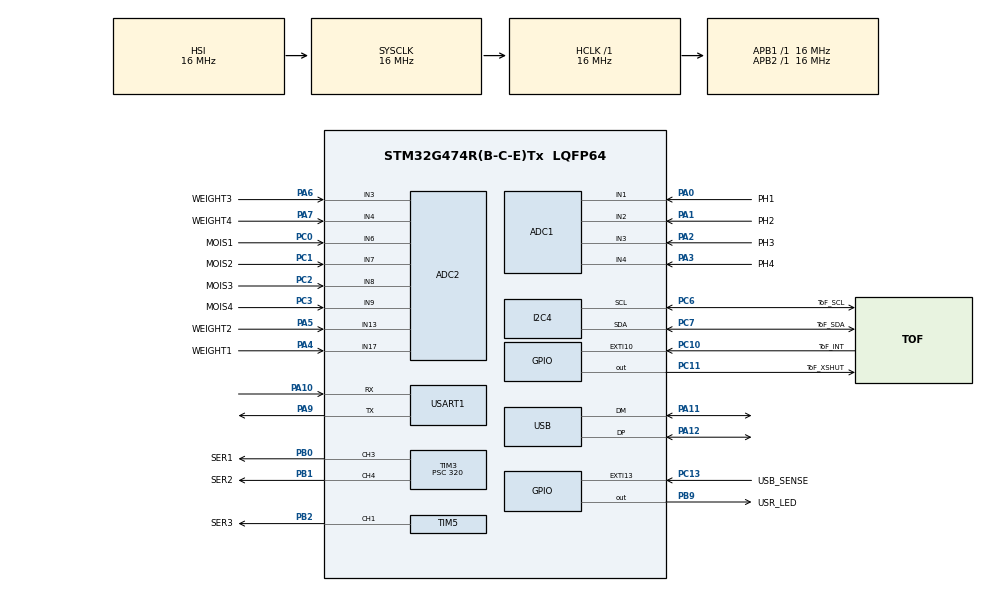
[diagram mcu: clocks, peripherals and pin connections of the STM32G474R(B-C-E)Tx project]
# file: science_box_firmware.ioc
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ADC1.Channel-1\#ChannelRegularConversion=ADC_CHANNEL_1
ADC1.Channel-2\#ChannelRegularConversion=ADC_CHANNEL_2
ADC1.Channel-3\#ChannelRegularConversion=ADC_CHANNEL_3
ADC1.Channel-4\#ChannelRegularConversion=ADC_CHANNEL_4
ADC1.DiscontinuousConvMode=ENABLE
ADC1.NbrOfConversion=4
ADC1.NbrOfConversionFlag=1
ADC1.OffsetNumber-1\#ChannelRegularConversion=ADC_OFFSET_NONE
ADC1.OffsetNumber-2\#ChannelRegularConversion=ADC_OFFSET_NONE
ADC1.OffsetNumber-3\#ChannelRegularConversion=ADC_OFFSET_NONE
ADC1.OffsetNumber-4\#ChannelRegularConversion=ADC_OFFSET_NONE
ADC1.Rank-1\#ChannelRegularConversion=1
ADC1.Rank-2\#ChannelRegularConversion=2
ADC1.Rank-3\#ChannelRegularConversion=3
ADC1.Rank-4\#ChannelRegularConversion=4
ADC1.SamplingTime-1\#ChannelRegularConversion=ADC_SAMPLETIME_640CYCLES_5
ADC1.SamplingTime-2\#ChannelRegularConversion=ADC_SAMPLETIME_640CYCLES_5
ADC1.SamplingTime-3\#ChannelRegularConversion=ADC_SAMPLETIME_640CYCLES_5
ADC1.SamplingTime-4\#ChannelRegularConversion=ADC_SAMPLETIME_640CYCLES_5
ADC1.master=1
ADC2.Channel-10\#ChannelRegularConversion=ADC_CHANNEL_17
ADC2.Channel-11\#ChannelRegularConversion=ADC_CHANNEL_13
ADC2.Channel-12\#ChannelRegularConversion=ADC_CHANNEL_3
ADC2.Channel-13\#ChannelRegularConversion=ADC_CHANNEL_4
ADC2.Channel-6\#ChannelRegularConversion=ADC_CHANNEL_6
ADC2.Channel-7\#ChannelRegularConversion=ADC_CHANNEL_7
ADC2.Channel-8\#ChannelRegularConversion=ADC_CHANNEL_8
ADC2.Channel-9\#ChannelRegularConversion=ADC_CHANNEL_9
ADC2.NbrOfConversion=8
ADC2.NbrOfConversionFlag=1
ADC2.OffsetNumber-10\#ChannelRegularConversion=ADC_OFFSET_NONE
ADC2.OffsetNumber-11\#ChannelRegularConversion=ADC_OFFSET_NONE
ADC2.OffsetNumber-12\#ChannelRegularConversion=ADC_OFFSET_NONE
ADC2.OffsetNumber-13\#ChannelRegularConversion=ADC_OFFSET_NONE
ADC2.OffsetNumber-6\#ChannelRegularConversion=ADC_OFFSET_NONE
ADC2.OffsetNumber-7\#ChannelRegularConversion=ADC_OFFSET_NONE
ADC2.OffsetNumber-8\#ChannelRegularConversion=ADC_OFFSET_NONE
ADC2.OffsetNumber-9\#ChannelRegularConversion=ADC_OFFSET_NONE
ADC2.Rank-10\#ChannelRegularConversion=5
ADC2.Rank-11\#ChannelRegularConversion=6
ADC2.Rank-12\#ChannelRegularConversion=7
ADC2.Rank-13\#ChannelRegularConversion=8
ADC2.Rank-6\#ChannelRegularConversion=1
ADC2.Rank-7\#ChannelRegularConversion=2
ADC2.Rank-8\#ChannelRegularConversion=3
ADC2.Rank-9\#ChannelRegularConversion=4
ADC2.SamplingTime-10\#ChannelRegularConversion=ADC_SAMPLETIME_640CYCLES_5
ADC2.SamplingTime-11\#ChannelRegularConversion=ADC_SAMPLETIME_640CYCLES_5
ADC2.SamplingTime-12\#ChannelRegularConversion=ADC_SAMPLETIME_640CYCLES_5
ADC2.SamplingTime-13\#ChannelRegularConversion=ADC_SAMPLETIME_640CYCLES_5
ADC2.SamplingTime-6\#ChannelRegularConversion=ADC_SAMPLETIME_640CYCLES_5
ADC2.SamplingTime-7\#ChannelRegularConversion=ADC_SAMPLETIME_640CYCLES_5
ADC2.SamplingTime-8\#ChannelRegularConversion=ADC_SAMPLETIME_640CYCLES_5
ADC2.SamplingTime-9\#ChannelRegularConversion=ADC_SAMPLETIME_640CYCLES_5
I2C4.Timing=0x00503D58
Mcu.Family=STM32G4
Mcu.Name=STM32G474R(B-C-E)Tx
Mcu.Package=LQFP64
NVIC.EXTI15_10_IRQn=true\:0\:0\:false\:false\:true\:true\:true\:true
NVIC.PriorityGroup=NVIC_PRIORITYGROUP_4
NVIC.RTC_WKUP_IRQn=true\:0\:0\:false\:false\:true\:true\:true\:true
NVIC.USART1_IRQn=true\:0\:0\:false\:false\:true\:true\:true\:true
NVIC.USB_HP_IRQn=true\:0\:0\:false\:false\:true\:true\:true\:true
NVIC.USB_LP_IRQn=true\:0\:0\:false\:false\:true\:true\:true\:true
PA0.GPIO_Label=PH1
PA0.Mode=IN1-Single-Ended
PA0.Signal=ADC1_IN1
PA1.GPIO_Label=PH2
PA1.Mode=IN2-Single-Ended
PA1.Signal=ADC1_IN2
PA10.Mode=Asynchronous
PA10.Signal=USART1_RX
PA11.Mode=Device
PA11.Signal=USB_DM
PA12.Mode=Device
PA12.Signal=USB_DP
PA13.Mode=Trace_Asynchronous_SW
PA13.Signal=SYS_JTMS-SWDIO
PA14.Mode=Trace_Asynchronous_SW
PA14.Signal=SYS_JTCK-SWCLK
PA2.GPIO_Label=PH3
PA2.Mode=IN3-Single-Ended
PA2.Signal=ADC1_IN3
PA3.GPIO_Label=PH4
PA3.Mode=IN4-Single-Ended
PA3.Signal=ADC1_IN4
PA4.GPIO_Label=WEIGHT1
PA4.Mode=IN17-Single-Ended
PA4.Signal=ADC2_IN17
PA5.GPIO_Label=WEIGHT2
PA5.Mode=IN13-Single-Ended
PA5.Signal=ADC2_IN13
PA6.GPIO_Label=WEIGHT3
PA6.Mode=IN3-Single-Ended
PA6.Signal=ADC2_IN3
PA7.GPIO_Label=WEIGHT4
PA7.Mode=IN4-Single-Ended
PA7.Signal=ADC2_IN4
PA9.Mode=Asynchronous
PA9.Signal=USART1_TX
PB0.GPIO_Label=SER1
PB0.Signal=S_TIM3_CH3
PB1.GPIO_Label=SER2
PB1.Signal=S_TIM3_CH4
PB2.GPIO_Label=SER3
PB2.Signal=S_TIM5_CH1
PB3.Mode=Trace_Asynchronous_SW
PB3.Signal=SYS_JTDO-SWO
PB9.GPIO_Label=USR_LED
PB9.Signal=GPIO_Output
PC0.GPIO_Label=MOIS1
PC0.Mode=IN6-Single-Ended
PC0.Signal=ADC2_IN6
PC1.GPIO_Label=MOIS2
PC1.Mode=IN7-Single-Ended
PC1.Signal=ADC2_IN7
PC10.GPIO_Label=ToF_INT
PC10.GPIO_ModeDefaultEXTI=GPIO_MODE_IT_FALLING
PC10.GPIO_PuPd=GPIO_PULLUP
PC10.Signal=GPXTI10
PC11.GPIO_Label=ToF_XSHUT
PC11.GPIO_ModeDefaultOutputPP=GPIO_MODE_OUTPUT_OD
PC11.GPIO_PuPd=GPIO_NOPULL
PC11.PinState=GPIO_PIN_SET
PC11.Signal=GPIO_Output
PC13.GPIO_Label=USB_SENSE
PC13.Signal=GPXTI13
PC2.GPIO_Label=MOIS3
PC2.Mode=IN8-Single-Ended
PC2.Signal=ADC2_IN8
PC3.GPIO_Label=MOIS4
PC3.Mode=IN9-Single-Ended
PC3.Signal=ADC2_IN9
PC6.GPIO_Label=ToF_SCL
PC6.Mode=I2C
PC6.Signal=I2C4_SCL
PC7.GPIO_Label=ToF_SDA
PC7.Mode=I2C
PC7.Signal=I2C4_SDA
ProjectManager.HeapSize=0x200
ProjectManager.StackSize=0x400
ProjectManager.TargetToolchain=CMake
RCC.AHBFreq_Value=16000000
RCC.APB1Freq_Value=16000000
RCC.APB1TimFreq_Value=16000000
RCC.APB2Freq_Value=16000000
RCC.APB2TimFreq_Value=16000000
RCC.CortexFreq_Value=16000000
RCC.EXTERNAL_CLOCK_VALUE=12288000
RCC.HCLKFreq_Value=16000000
RCC.HSE_VALUE=8000000
RCC.HSI48_VALUE=48000000
RCC.HSI_VALUE=16000000
RCC.LSE_VALUE=32768
RCC.PLLN=12
RCC.PLLQ=RCC_PLLQ_DIV4
RCC.SYSCLKFreq_VALUE=16000000
RCC.USBFreq_Value=48000000
RCC.VCOOutputFreq_Value=192000000
RTC.Format=RTC_FORMAT_BIN
RTC.WakeUpClock-WakeUp=RTC_WAKEUPCLOCK_CK_SPRE_16BITS
SH.S_TIM3_CH3.0=TIM3_CH3,PWM Generation3 CH3
SH.S_TIM3_CH4.0=TIM3_CH4,PWM Generation4 CH4
SH.S_TIM5_CH1.0=TIM5_CH1,PWM Generation1 CH1
TIM16.AutoReloadPreload=TIM_AUTORELOAD_PRELOAD_ENABLE
TIM16.PeriodNoDither=1000
TIM16.Prescaler=320
TIM3.AutoReloadPreload=TIM_AUTORELOAD_PRELOAD_ENABLE
TIM3.Channel-PWM\ Generation3\ CH3=TIM_CHANNEL_3
TIM3.Channel-PWM\ Generation4\ CH4=TIM_CHANNEL_4
TIM3.PeriodNoDither=1000
TIM3.Prescaler=320
TIM5.AutoReloadPreload=TIM_AUTORELOAD_PRELOAD_ENABLE
TIM5.Channel-PWM\ Generation1\ CH1=TIM_CHANNEL_1
TIM5.PeriodNoDither=1000
TIM5.Prescaler=320
USART1.VirtualMode-Asynchronous=VM_ASYNC
VP_RTC_VS_RTC_Activate.Mode=RTC_Enabled
VP_RTC_VS_RTC_Calendar.Mode=RTC_Calendar
VP_RTC_VS_RTC_WakeUp_intern.Mode=WakeUp
VP_SYS_VS_DBSignals.Mode=DisableDeadBatterySignals
VP_TIM16_VS_ClockSourceINT.Mode=Enable_Timer
VP_TIM3_VS_ClockSourceINT.Mode=Internal
VP_TIM5_VS_ClockSourceINT.Mode=Internal
board=custom

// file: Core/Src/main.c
/* USER CODE BEGIN Header */
/**
 ******************************************************************************
 * @file           : main.c
 * @brief          : Main program body
 ******************************************************************************
 * @attention
 *
 * Copyright (c) 2026 STMicroelectronics.
 * All rights reserved.
 *
 * This software is licensed under terms that can be found in the LICENSE file
 * in the root directory of this software component.
 * If no LICENSE file comes with this software, it is provided AS-IS.
 *
 ******************************************************************************
 */
/* USER CODE END Header */
#include "main.h"

/* USER CODE BEGIN Includes */

// Including the C standard libraries
#include <stdio.h>			// STDIO
#include <string.h>			// Strings (for organizing data)
#include <stdbool.h>
#include "rosjam.h"
#include "stm32g4xx_hal_rtc.h"
#include "vl53l3cx.h"
/* USER CODE END Includes */

/* USER CODE BEGIN PD */
#define MAX_DATA_LENGTH (180)
#define UART_INPUT_LENGTH (8)
/* USER CODE END PD */

ADC_HandleTypeDef hadc1;
ADC_HandleTypeDef hadc2;

I2C_HandleTypeDef hi2c4;

RTC_HandleTypeDef hrtc;

TIM_HandleTypeDef htim3;
TIM_HandleTypeDef htim5;
TIM_HandleTypeDef htim16;

UART_HandleTypeDef huart1;

PCD_HandleTypeDef hpcd_USB_FS;

/* USER CODE BEGIN PV */
uint32_t timestamp = 0;

uint16_t ph1_val = 0;
uint16_t ph2_val = 0;
uint16_t ph3_val = 0;
uint16_t ph4_val = 0;

uint16_t mois1_val = 0;
uint16_t mois2_val = 0;
uint16_t mois3_val = 0;
uint16_t mois4_val = 0;

uint16_t weight1_val = 0;
uint16_t weight2_val = 0;
uint16_t weight3_val = 0;
uint16_t weight4_val = 0;

uint32_t tof_val = 0;

uint8_t uart_input_buffer[UART_INPUT_LENGTH];
// This avoids the race condition (?) where a new UART transmission is started
// while another one is still in progress
// Shouldn't be necessary though
volatile bool can_transmit_uart = true;
// Use servos to open chute (controlled externally)
volatile bool turn_servos = false;
// Send data? (controlled by wake-up timer)
volatile bool send_data = false;
// Buffer for transferring data from sensors
char data_buffer[MAX_DATA_LENGTH];
uint16_t data_length;

/* USER CODE END PV */

void SystemClock_Config(void);
static void MX_GPIO_Init(void);
static void MX_ADC1_Init(void);
static void MX_ADC2_Init(void);
static void MX_I2C4_Init(void);
static void MX_TIM3_Init(void);
static void MX_TIM5_Init(void);
static void MX_TIM16_Init(void);
static void MX_USB_PCD_Init(void);
static void MX_RTC_Init(void);
static void MX_USART1_UART_Init(void);

/* USER CODE BEGIN 0 */
// DEBUG: JTAG
int __io_putchar(int ch) {
    // Write character to ITM ch.0
    ITM_SendChar(ch);
    return(ch);
}
// RTC interrupt callback function
void HAL_RTCEx_WakeUpTimerEventCallback(RTC_HandleTypeDef *hrtc)
{
    // Set flag to send data
    timestamp++;
    send_data = true;
}

// UART receive complete callback function
void HAL_UART_RxCpltCallback(UART_HandleTypeDef *huart)
{
    // Set flag for servo things
    turn_servos = true;
    // Re-arm receiver interrupt
    HAL_UART_Receive_IT(&huart1, uart_input_buffer, UART_INPUT_LENGTH);
}

// UART transmit complete callback function
void HAL_UART_TxCpltCallback(UART_HandleTypeDef *huart)
{
    can_transmit_uart = true;
}

static int32_t I2C_WriteReg(uint16_t addr, uint8_t *pdata, uint16_t count) {
    if (HAL_I2C_Master_Transmit(&hi2c4, addr, pdata, count, 100) != HAL_OK)
        return -1;
    return 0;
}

static int32_t I2C_ReadReg(uint16_t addr, uint8_t *pdata, uint16_t count) {
    if (HAL_I2C_Master_Receive(&hi2c4, addr, pdata, count, 100) != HAL_OK)
        return -1;
    return 0;
}

static int32_t I2C_GetTick(void) {
    return (int32_t)HAL_GetTick();
}

VL53L3CX_Object_t sensor;
static void ToF_Init(void) {
    HAL_GPIO_WritePin(GPIOA, GPIO_PIN_15, GPIO_PIN_RESET);
    HAL_Delay(10);
    HAL_GPIO_WritePin(GPIOA, GPIO_PIN_15, GPIO_PIN_SET);
    HAL_Delay(200);

    VL53L3CX_IO_t io;
    io.Address  = VL53L3CX_DEVICE_ADDRESS;
    io.WriteReg = I2C_WriteReg;
    io.ReadReg  = I2C_ReadReg;
    io.GetTick  = I2C_GetTick;
    io.Init     = 0; // I2C already initialized by MX_I2C4_Init
    io.DeInit   = NULL;

    VL53L3CX_RegisterBusIO(&sensor, &io);
    VL53L3CX_Init(&sensor);
    VL53L3CX_Start(&sensor, VL53L3CX_MODE_BLOCKING_CONTINUOUS);
}

static int32_t ToF_Read(void) {
    VL53L3CX_Result_t result;

    if (VL53L3CX_GetDistance(&sensor, &result) != VL53L3CX_OK) {
        return -1;
    }

    for (uint32_t i = 0; i < result.ZoneResult[0].NumberOfTargets; i++) {
        if (result.ZoneResult[0].Status[i] == 0) {
            return result.ZoneResult[0].Distance[i];
        }
    }
    return -1;
}

static uint16_t Get_Position(float position) {
    return position * 100 + 100;
}

// Position goes from 0 to 1
static void Turn_Servo(uint8_t number, float position) {
    position = Get_Position(position);
    switch (number) {
        case 1:
            __HAL_TIM_SET_COMPARE(&htim3, TIM_CHANNEL_3, position);
        case 2:
            __HAL_TIM_SET_COMPARE(&htim3, TIM_CHANNEL_4, position);
        case 3:
            __HAL_TIM_SET_COMPARE(&htim5, TIM_CHANNEL_1, position);
    }
}

static inline uint32_t Get_Value_From_ADC(ADC_HandleTypeDef *adc) {
        HAL_ADC_Start(adc);
        HAL_ADC_PollForConversion(adc, 100);
        return HAL_ADC_GetValue(adc);
}

/* USER CODE END 0 */

int main(void)
{

  /* MCU Configuration--------------------------------------------------------*/

  /* Reset of all peripherals, Initializes the Flash interface and the Systick. */
  HAL_Init();

  /* Configure the system clock */
  SystemClock_Config();

  /* Initialize all configured peripherals */
  MX_GPIO_Init();
  MX_ADC1_Init();
  MX_ADC2_Init();
  MX_I2C4_Init();
  MX_TIM3_Init();
  MX_TIM5_Init();
  MX_TIM16_Init();
  MX_USB_PCD_Init();
  MX_RTC_Init();
  MX_USART1_UART_Init();
  /* USER CODE BEGIN 2 */
    // Initialize USB connection through Rosjam2
    setup_simple();

    // ToF Sensor
    ToF_Init();

    // Initialize servo PWM timers
    // IMPORTANT: Set the timers and channels accordingly
    HAL_TIM_PWM_Start(&htim3, TIM_CHANNEL_3); // Servo 1
    __HAL_TIM_SET_COMPARE(&htim3, TIM_CHANNEL_3, 50);
    HAL_TIM_PWM_Start(&htim3, TIM_CHANNEL_4); // Servo 2
    __HAL_TIM_SET_COMPARE(&htim3, TIM_CHANNEL_4, 50);
    HAL_TIM_PWM_Start(&htim5, TIM_CHANNEL_1); // Servo 2
    __HAL_TIM_SET_COMPARE(&htim5, TIM_CHANNEL_1, 50);

    // Initialize UART interrupt mode
    HAL_UART_Receive_IT(&huart1, uart_input_buffer, UART_INPUT_LENGTH);
  /* USER CODE END 2 */

  /* Infinite loop */
    while (1)
    {

    /* USER CODE BEGIN 3 */
    process_simple();

    // Servo driving
    if (turn_servos) {
        // Get servo signals from USB
        // The message will be formatted as: "S1:xx;S2:xx;S3:xx;S4:xx\n"
        // TBA but good enough for testing
        Turn_Servo(1, 0.1);

        turn_servos = false;
    }

    // ADC configuration and logic: polling
    // Poll from ADC1
    ph1_val = Get_Value_From_ADC(&hadc1); // Channel 1
    ph2_val = Get_Value_From_ADC(&hadc1); // Channel 2
    ph3_val = Get_Value_From_ADC(&hadc1); // Channel 3
    ph4_val = Get_Value_From_ADC(&hadc1); // Channel 4
    HAL_ADC_Stop(&hadc1);

    // Poll from ADC2
    mois1_val = Get_Value_From_ADC(&hadc2); // Channel 6
    mois2_val = Get_Value_From_ADC(&hadc2); // Channel 7
    mois3_val = Get_Value_From_ADC(&hadc2); // Channel 8
    mois4_val = Get_Value_From_ADC(&hadc2); // Channel 9
    weight1_val = Get_Value_From_ADC(&hadc2); // Channel 17
    weight2_val = Get_Value_From_ADC(&hadc2); // Channel 13
    weight3_val = Get_Value_From_ADC(&hadc2); // Channel 3
    weight4_val = Get_Value_From_ADC(&hadc2); // Channel 4
    HAL_ADC_Stop(&hadc2);

    // Read from time of flight sensor
    tof_val = ToF_Read();

    // Send the data via the USB and UART
    // Write to buffer
    if (send_data) {
        data_length = snprintf(data_buffer, MAX_DATA_LENGTH,
            "{"
                "'time':%ld,"
                "'ph1':%d,'ph2':%d,'ph3':%d,'ph4':%d,"
                "'m1':%d,'m2':%d,'m3':%d,'m4':%d,"
                "'w1':%d,'w2':%d,'w3':%d,'w4':%d"
                "'tof':%ld\n"
            "}",
            timestamp,
            ph1_val, ph2_val, ph3_val, ph4_val,
            mois1_val, mois2_val, mois3_val, mois4_val,
            weight1_val, weight2_val, weight3_val, weight4_val,
            tof_val
        );

        // Send data via USB (does Rosjam buffer this?)
        send_msg_raw(data_buffer, data_length);
        // Send data via UART
        if (can_transmit_uart) {
            can_transmit_uart = false;
            HAL_UART_Transmit_IT(&huart1, (uint8_t *)data_buffer, data_length);
        }

        send_data = false;
    }
        // NO HAL_Delay!!! (rosjam USB doesn't like that)
    }
  /* USER CODE END 3 */
}

void SystemClock_Config(void)
{
  RCC_OscInitTypeDef RCC_OscInitStruct = {0};
  RCC_ClkInitTypeDef RCC_ClkInitStruct = {0};

  /** Configure the main internal regulator output voltage
  */
  HAL_PWREx_ControlVoltageScaling(PWR_REGULATOR_VOLTAGE_SCALE1);

  /** Initializes the RCC Oscillators according to the specified parameters
  * in the RCC_OscInitTypeDef structure.
  */
  RCC_OscInitStruct.OscillatorType = RCC_OSCILLATORTYPE_HSI|RCC_OSCILLATORTYPE_LSI;
  RCC_OscInitStruct.HSIState = RCC_HSI_ON;
  RCC_OscInitStruct.HSICalibrationValue = RCC_HSICALIBRATION_DEFAULT;
  RCC_OscInitStruct.LSIState = RCC_LSI_ON;
  RCC_OscInitStruct.PLL.PLLState = RCC_PLL_ON;
  RCC_OscInitStruct.PLL.PLLSource = RCC_PLLSOURCE_HSI;
  RCC_OscInitStruct.PLL.PLLM = RCC_PLLM_DIV1;
  RCC_OscInitStruct.PLL.PLLN = 12;
  RCC_OscInitStruct.PLL.PLLP = RCC_PLLP_DIV2;
  RCC_OscInitStruct.PLL.PLLQ = RCC_PLLQ_DIV4;
  RCC_OscInitStruct.PLL.PLLR = RCC_PLLR_DIV2;
  if (HAL_RCC_OscConfig(&RCC_OscInitStruct) != HAL_OK)
  {
    Error_Handler();
  }

  /** Initializes the CPU, AHB and APB buses clocks
  */
  RCC_ClkInitStruct.ClockType = RCC_CLOCKTYPE_HCLK|RCC_CLOCKTYPE_SYSCLK
                              |RCC_CLOCKTYPE_PCLK1|RCC_CLOCKTYPE_PCLK2;
  RCC_ClkInitStruct.SYSCLKSource = RCC_SYSCLKSOURCE_HSI;
  RCC_ClkInitStruct.AHBCLKDivider = RCC_SYSCLK_DIV1;
  RCC_ClkInitStruct.APB1CLKDivider = RCC_HCLK_DIV1;
  RCC_ClkInitStruct.APB2CLKDivider = RCC_HCLK_DIV1;

  if (HAL_RCC_ClockConfig(&RCC_ClkInitStruct, FLASH_LATENCY_0) != HAL_OK)
  {
    Error_Handler();
  }
}

static void MX_ADC1_Init(void)
{

  ADC_MultiModeTypeDef multimode = {0};
  ADC_ChannelConfTypeDef sConfig = {0};

  /** Common config
  */
  hadc1.Instance = ADC1;
  hadc1.Init.ClockPrescaler = ADC_CLOCK_SYNC_PCLK_DIV2;
  hadc1.Init.Resolution = ADC_RESOLUTION_12B;
  hadc1.Init.DataAlign = ADC_DATAALIGN_RIGHT;
  hadc1.Init.GainCompensation = 0;
  hadc1.Init.ScanConvMode = ADC_SCAN_ENABLE;
  hadc1.Init.EOCSelection = ADC_EOC_SINGLE_CONV;
  hadc1.Init.LowPowerAutoWait = DISABLE;
  hadc1.Init.ContinuousConvMode = DISABLE;
  hadc1.Init.NbrOfConversion = 4;
  hadc1.Init.DiscontinuousConvMode = ENABLE;
  hadc1.Init.NbrOfDiscConversion = 1;
  hadc1.Init.ExternalTrigConv = ADC_SOFTWARE_START;
  hadc1.Init.ExternalTrigConvEdge = ADC_EXTERNALTRIGCONVEDGE_NONE;
  hadc1.Init.DMAContinuousRequests = DISABLE;
  hadc1.Init.Overrun = ADC_OVR_DATA_PRESERVED;
  hadc1.Init.OversamplingMode = DISABLE;
  if (HAL_ADC_Init(&hadc1) != HAL_OK)
  {
    Error_Handler();
  }

  /** Configure the ADC multi-mode
  */
  multimode.Mode = ADC_MODE_INDEPENDENT;
  if (HAL_ADCEx_MultiModeConfigChannel(&hadc1, &multimode) != HAL_OK)
  {
    Error_Handler();
  }

  /** Configure Regular Channel
  */
  sConfig.Channel = ADC_CHANNEL_1;
  sConfig.Rank = ADC_REGULAR_RANK_1;
  sConfig.SamplingTime = ADC_SAMPLETIME_640CYCLES_5;
  sConfig.SingleDiff = ADC_SINGLE_ENDED;
  sConfig.OffsetNumber = ADC_OFFSET_NONE;
  sConfig.Offset = 0;
  if (HAL_ADC_ConfigChannel(&hadc1, &sConfig) != HAL_OK)
  {
    Error_Handler();
  }

  /** Configure Regular Channel
  */
  sConfig.Channel = ADC_CHANNEL_2;
  sConfig.Rank = ADC_REGULAR_RANK_2;
  if (HAL_ADC_ConfigChannel(&hadc1, &sConfig) != HAL_OK)
  {
    Error_Handler();
  }

  /** Configure Regular Channel
  */
  sConfig.Channel = ADC_CHANNEL_3;
  sConfig.Rank = ADC_REGULAR_RANK_3;
  if (HAL_ADC_ConfigChannel(&hadc1, &sConfig) != HAL_OK)
  {
    Error_Handler();
  }

  /** Configure Regular Channel
  */
  sConfig.Channel = ADC_CHANNEL_4;
  sConfig.Rank = ADC_REGULAR_RANK_4;
  if (HAL_ADC_ConfigChannel(&hadc1, &sConfig) != HAL_OK)
  {
    Error_Handler();
  }

}

static void MX_ADC2_Init(void)
{

  ADC_ChannelConfTypeDef sConfig = {0};

  /** Common config
  */
  hadc2.Instance = ADC2;
  hadc2.Init.ClockPrescaler = ADC_CLOCK_SYNC_PCLK_DIV2;
  hadc2.Init.Resolution = ADC_RESOLUTION_12B;
  hadc2.Init.DataAlign = ADC_DATAALIGN_RIGHT;
  hadc2.Init.GainCompensation = 0;
  hadc2.Init.ScanConvMode = ADC_SCAN_ENABLE;
  hadc2.Init.EOCSelection = ADC_EOC_SINGLE_CONV;
  hadc2.Init.LowPowerAutoWait = DISABLE;
  hadc2.Init.ContinuousConvMode = DISABLE;
  hadc2.Init.NbrOfConversion = 8;
  hadc2.Init.DiscontinuousConvMode = DISABLE;
  hadc2.Init.ExternalTrigConv = ADC_SOFTWARE_START;
  hadc2.Init.ExternalTrigConvEdge = ADC_EXTERNALTRIGCONVEDGE_NONE;
  hadc2.Init.DMAContinuousRequests = DISABLE;
  hadc2.Init.Overrun = ADC_OVR_DATA_PRESERVED;
  hadc2.Init.OversamplingMode = DISABLE;
  if (HAL_ADC_Init(&hadc2) != HAL_OK)
  {
    Error_Handler();
  }

  /** Configure Regular Channel
  */
  sConfig.Channel = ADC_CHANNEL_6;
  sConfig.Rank = ADC_REGULAR_RANK_1;
  sConfig.SamplingTime = ADC_SAMPLETIME_640CYCLES_5;
  sConfig.SingleDiff = ADC_SINGLE_ENDED;
  sConfig.OffsetNumber = ADC_OFFSET_NONE;
  sConfig.Offset = 0;
  if (HAL_ADC_ConfigChannel(&hadc2, &sConfig) != HAL_OK)
  {
    Error_Handler();
  }

  /** Configure Regular Channel
  */
  sConfig.Channel = ADC_CHANNEL_7;
  sConfig.Rank = ADC_REGULAR_RANK_2;
  if (HAL_ADC_ConfigChannel(&hadc2, &sConfig) != HAL_OK)
  {
    Error_Handler();
  }

  /** Configure Regular Channel
  */
  sConfig.Channel = ADC_CHANNEL_8;
  sConfig.Rank = ADC_REGULAR_RANK_3;
  if (HAL_ADC_ConfigChannel(&hadc2, &sConfig) != HAL_OK)
  {
    Error_Handler();
  }

  /** Configure Regular Channel
  */
  sConfig.Channel = ADC_CHANNEL_9;
  sConfig.Rank = ADC_REGULAR_RANK_4;
  if (HAL_ADC_ConfigChannel(&hadc2, &sConfig) != HAL_OK)
  {
    Error_Handler();
  }

  /** Configure Regular Channel
  */
  sConfig.Channel = ADC_CHANNEL_17;
  sConfig.Rank = ADC_REGULAR_RANK_5;
  if (HAL_ADC_ConfigChannel(&hadc2, &sConfig) != HAL_OK)
  {
    Error_Handler();
  }

  /** Configure Regular Channel
  */
  sConfig.Channel = ADC_CHANNEL_13;
  sConfig.Rank = ADC_REGULAR_RANK_6;
  if (HAL_ADC_ConfigChannel(&hadc2, &sConfig) != HAL_OK)
  {
    Error_Handler();
  }

  /** Configure Regular Channel
  */
  sConfig.Channel = ADC_CHANNEL_3;
  sConfig.Rank = ADC_REGULAR_RANK_7;
  if (HAL_ADC_ConfigChannel(&hadc2, &sConfig) != HAL_OK)
  {
    Error_Handler();
  }

  /** Configure Regular Channel
  */
  sConfig.Channel = ADC_CHANNEL_4;
  sConfig.Rank = ADC_REGULAR_RANK_8;
  if (HAL_ADC_ConfigChannel(&hadc2, &sConfig) != HAL_OK)
  {
    Error_Handler();
  }

}

static void MX_I2C4_Init(void)
{

  hi2c4.Instance = I2C4;
  hi2c4.Init.Timing = 0x00503D58;
  hi2c4.Init.OwnAddress1 = 0;
  hi2c4.Init.AddressingMode = I2C_ADDRESSINGMODE_7BIT;
  hi2c4.Init.DualAddressMode = I2C_DUALADDRESS_DISABLE;
  hi2c4.Init.OwnAddress2 = 0;
  hi2c4.Init.OwnAddress2Masks = I2C_OA2_NOMASK;
  hi2c4.Init.GeneralCallMode = I2C_GENERALCALL_DISABLE;
  hi2c4.Init.NoStretchMode = I2C_NOSTRETCH_DISABLE;
  if (HAL_I2C_Init(&hi2c4) != HAL_OK)
  {
    Error_Handler();
  }

  /** Configure Analogue filter
  */
  if (HAL_I2CEx_ConfigAnalogFilter(&hi2c4, I2C_ANALOGFILTER_ENABLE) != HAL_OK)
  {
    Error_Handler();
  }

  /** Configure Digital filter
  */
  if (HAL_I2CEx_ConfigDigitalFilter(&hi2c4, 0) != HAL_OK)
  {
    Error_Handler();
  }

}

static void MX_RTC_Init(void)
{

  RTC_TimeTypeDef sTime = {0};
  RTC_DateTypeDef sDate = {0};

  /** Initialize RTC Only
  */
  hrtc.Instance = RTC;
  hrtc.Init.HourFormat = RTC_HOURFORMAT_24;
  hrtc.Init.AsynchPrediv = 127;
  hrtc.Init.SynchPrediv = 255;
  hrtc.Init.OutPut = RTC_OUTPUT_DISABLE;
  hrtc.Init.OutPutRemap = RTC_OUTPUT_REMAP_NONE;
  hrtc.Init.OutPutPolarity = RTC_OUTPUT_POLARITY_HIGH;
  hrtc.Init.OutPutType = RTC_OUTPUT_TYPE_OPENDRAIN;
  hrtc.Init.OutPutPullUp = RTC_OUTPUT_PULLUP_NONE;
  if (HAL_RTC_Init(&hrtc) != HAL_OK)
  {
    Error_Handler();
  }

  /** Initialize RTC and set the Time and Date
  */
  sTime.Hours = 0;
  sTime.Minutes = 0;
  sTime.Seconds = 0;
  sTime.SubSeconds = 0;
  sTime.DayLightSaving = RTC_DAYLIGHTSAVING_NONE;
  sTime.StoreOperation = RTC_STOREOPERATION_RESET;
  if (HAL_RTC_SetTime(&hrtc, &sTime, RTC_FORMAT_BIN) != HAL_OK)
  {
    Error_Handler();
  }
  sDate.WeekDay = RTC_WEEKDAY_MONDAY;
  sDate.Month = RTC_MONTH_JANUARY;
  sDate.Date = 1;
  sDate.Year = 0;

  if (HAL_RTC_SetDate(&hrtc, &sDate, RTC_FORMAT_BIN) != HAL_OK)
  {
    Error_Handler();
  }

  /** Enable the WakeUp
  */
  if (HAL_RTCEx_SetWakeUpTimer_IT(&hrtc, 0, RTC_WAKEUPCLOCK_CK_SPRE_16BITS) != HAL_OK)
  {
    Error_Handler();
  }

}

static void MX_TIM3_Init(void)
{

  TIM_ClockConfigTypeDef sClockSourceConfig = {0};
  TIM_MasterConfigTypeDef sMasterConfig = {0};
  TIM_OC_InitTypeDef sConfigOC = {0};

  htim3.Instance = TIM3;
  htim3.Init.Prescaler = 320;
  htim3.Init.CounterMode = TIM_COUNTERMODE_UP;
  htim3.Init.Period = 1000;
  htim3.Init.ClockDivision = TIM_CLOCKDIVISION_DIV1;
  htim3.Init.AutoReloadPreload = TIM_AUTORELOAD_PRELOAD_ENABLE;
  if (HAL_TIM_Base_Init(&htim3) != HAL_OK)
  {
    Error_Handler();
  }
  sClockSourceConfig.ClockSource = TIM_CLOCKSOURCE_INTERNAL;
  if (HAL_TIM_ConfigClockSource(&htim3, &sClockSourceConfig) != HAL_OK)
  {
    Error_Handler();
  }
  if (HAL_TIM_PWM_Init(&htim3) != HAL_OK)
  {
    Error_Handler();
  }
  sMasterConfig.MasterOutputTrigger = TIM_TRGO_RESET;
  sMasterConfig.MasterSlaveMode = TIM_MASTERSLAVEMODE_DISABLE;
  if (HAL_TIMEx_MasterConfigSynchronization(&htim3, &sMasterConfig) != HAL_OK)
  {
    Error_Handler();
  }
  sConfigOC.OCMode = TIM_OCMODE_PWM1;
  sConfigOC.Pulse = 0;
  sConfigOC.OCPolarity = TIM_OCPOLARITY_HIGH;
  sConfigOC.OCFastMode = TIM_OCFAST_DISABLE;
  if (HAL_TIM_PWM_ConfigChannel(&htim3, &sConfigOC, TIM_CHANNEL_3) != HAL_OK)
  {
    Error_Handler();
  }
  if (HAL_TIM_PWM_ConfigChannel(&htim3, &sConfigOC, TIM_CHANNEL_4) != HAL_OK)
  {
    Error_Handler();
  }
  HAL_TIM_MspPostInit(&htim3);

}

static void MX_TIM5_Init(void)
{

  TIM_ClockConfigTypeDef sClockSourceConfig = {0};
  TIM_MasterConfigTypeDef sMasterConfig = {0};
  TIM_OC_InitTypeDef sConfigOC = {0};

  htim5.Instance = TIM5;
  htim5.Init.Prescaler = 320;
  htim5.Init.CounterMode = TIM_COUNTERMODE_UP;
  htim5.Init.Period = 1000;
  htim5.Init.ClockDivision = TIM_CLOCKDIVISION_DIV1;
  htim5.Init.AutoReloadPreload = TIM_AUTORELOAD_PRELOAD_ENABLE;
  if (HAL_TIM_Base_Init(&htim5) != HAL_OK)
  {
    Error_Handler();
  }
  sClockSourceConfig.ClockSource = TIM_CLOCKSOURCE_INTERNAL;
  if (HAL_TIM_ConfigClockSource(&htim5, &sClockSourceConfig) != HAL_OK)
  {
    Error_Handler();
  }
  if (HAL_TIM_PWM_Init(&htim5) != HAL_OK)
  {
    Error_Handler();
  }
  sMasterConfig.MasterOutputTrigger = TIM_TRGO_RESET;
  sMasterConfig.MasterSlaveMode = TIM_MASTERSLAVEMODE_DISABLE;
  if (HAL_TIMEx_MasterConfigSynchronization(&htim5, &sMasterConfig) != HAL_OK)
  {
    Error_Handler();
  }
  sConfigOC.OCMode = TIM_OCMODE_PWM1;
  sConfigOC.Pulse = 0;
  sConfigOC.OCPolarity = TIM_OCPOLARITY_HIGH;
  sConfigOC.OCFastMode = TIM_OCFAST_DISABLE;
  if (HAL_TIM_PWM_ConfigChannel(&htim5, &sConfigOC, TIM_CHANNEL_1) != HAL_OK)
  {
    Error_Handler();
  }
  HAL_TIM_MspPostInit(&htim5);

}

static void MX_TIM16_Init(void)
{

  htim16.Instance = TIM16;
  htim16.Init.Prescaler = 320;
  htim16.Init.CounterMode = TIM_COUNTERMODE_UP;
  htim16.Init.Period = 1000;
  htim16.Init.ClockDivision = TIM_CLOCKDIVISION_DIV1;
  htim16.Init.RepetitionCounter = 0;
  htim16.Init.AutoReloadPreload = TIM_AUTORELOAD_PRELOAD_ENABLE;
  if (HAL_TIM_Base_Init(&htim16) != HAL_OK)
  {
    Error_Handler();
  }

}

static void MX_USART1_UART_Init(void)
{

  huart1.Instance = USART1;
  huart1.Init.BaudRate = 115200;
  huart1.Init.WordLength = UART_WORDLENGTH_8B;
  huart1.Init.StopBits = UART_STOPBITS_1;
  huart1.Init.Parity = UART_PARITY_NONE;
  huart1.Init.Mode = UART_MODE_TX_RX;
  huart1.Init.HwFlowCtl = UART_HWCONTROL_NONE;
  huart1.Init.OverSampling = UART_OVERSAMPLING_16;
  huart1.Init.OneBitSampling = UART_ONE_BIT_SAMPLE_DISABLE;
  huart1.Init.ClockPrescaler = UART_PRESCALER_DIV1;
  huart1.AdvancedInit.AdvFeatureInit = UART_ADVFEATURE_NO_INIT;
  if (HAL_UART_Init(&huart1) != HAL_OK)
  {
    Error_Handler();
  }
  if (HAL_UARTEx_SetTxFifoThreshold(&huart1, UART_TXFIFO_THRESHOLD_1_8) != HAL_OK)
  {
    Error_Handler();
  }
  if (HAL_UARTEx_SetRxFifoThreshold(&huart1, UART_RXFIFO_THRESHOLD_1_8) != HAL_OK)
  {
    Error_Handler();
  }
  if (HAL_UARTEx_DisableFifoMode(&huart1) != HAL_OK)
  {
    Error_Handler();
  }

}

static void MX_USB_PCD_Init(void)
{

  hpcd_USB_FS.Instance = USB;
  hpcd_USB_FS.Init.dev_endpoints = 8;
  hpcd_USB_FS.Init.speed = PCD_SPEED_FULL;
  hpcd_USB_FS.Init.phy_itface = PCD_PHY_EMBEDDED;
  hpcd_USB_FS.Init.Sof_enable = DISABLE;
  hpcd_USB_FS.Init.low_power_enable = DISABLE;
  hpcd_USB_FS.Init.lpm_enable = DISABLE;
  hpcd_USB_FS.Init.battery_charging_enable = DISABLE;
  if (HAL_PCD_Init(&hpcd_USB_FS) != HAL_OK)
  {
    Error_Handler();
  }

}

static void MX_GPIO_Init(void)
{
  GPIO_InitTypeDef GPIO_InitStruct = {0};

  /* GPIO Ports Clock Enable */
  __HAL_RCC_GPIOC_CLK_ENABLE();
  __HAL_RCC_GPIOA_CLK_ENABLE();
  __HAL_RCC_GPIOB_CLK_ENABLE();

  /*Configure GPIO pin Output Level */
  HAL_GPIO_WritePin(USR_LED_GPIO_Port, USR_LED_Pin, GPIO_PIN_RESET);

  /*Configure GPIO pin : USB_SENSE_Pin */
  GPIO_InitStruct.Pin = USB_SENSE_Pin;
  GPIO_InitStruct.Mode = GPIO_MODE_IT_RISING;
  GPIO_InitStruct.Pull = GPIO_NOPULL;
  HAL_GPIO_Init(USB_SENSE_GPIO_Port, &GPIO_InitStruct);

  /*Configure GPIO pin : USR_LED_Pin */
  GPIO_InitStruct.Pin = USR_LED_Pin;
  GPIO_InitStruct.Mode = GPIO_MODE_OUTPUT_PP;
  GPIO_InitStruct.Pull = GPIO_NOPULL;
  GPIO_InitStruct.Speed = GPIO_SPEED_FREQ_LOW;
  HAL_GPIO_Init(USR_LED_GPIO_Port, &GPIO_InitStruct);

}

void Error_Handler(void)
{
    __disable_irq();
    while (1)
    {
    }
}
